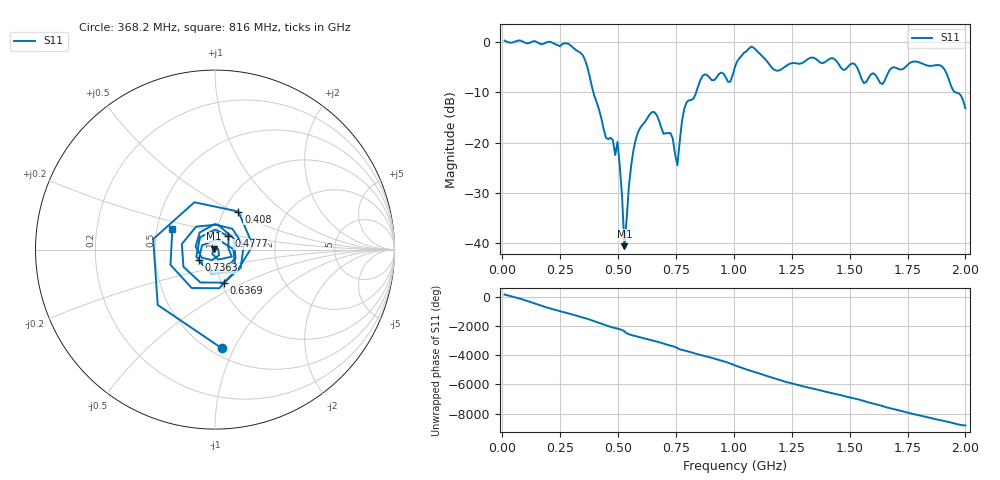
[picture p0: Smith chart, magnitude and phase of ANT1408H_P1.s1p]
!Created with skrf (http://scikit-rf.org).
# Hz S RI R 50.0
!freq ReS11 ImS11
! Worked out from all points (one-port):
!   201 points, 10 MHz to 2 GHz, reference 50 ohm
!   lowest |S11| = -40.5 dB at 527.4 MHz (marker M1), VSWR 1.02, Z = 49.2 + j0.515 ohm
!   |S11| at or under -10 dB: 393.2 MHz to 837.7 MHz (444.5 MHz wide, 72.2 % of centre); 1.955 GHz to end of sweep
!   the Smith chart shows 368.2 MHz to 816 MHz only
!   S11 on the Smith chart (normalised r, x): 368.2 MHz: 0.57, -0.89; 408 MHz: 1.17, +0.53; 477.6 MHz: 1.15, +0.17; 636.9 MHz: 1.02, -0.39; 736.4 MHz: 0.83, -0.10; 816 MHz: 0.60, +0.15
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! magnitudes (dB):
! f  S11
! 10 MHz  0.2
! 258.8 MHz  -0.5
! 368.2 MHz  -5.2
! 408 MHz  -12.1
! 447.8 MHz  -19.1
! 477.6 MHz  -19.5
! 487.6 MHz  -22.5
! 497.6 MHz  -19.9
! 507.5 MHz  -24.7
! 527.4 MHz  -40.5
! 547.3 MHz  -28.3
! 567.2 MHz  -21.3
! 636.9 MHz  -14.4
! 736.4 MHz  -19.2
! 756.2 MHz  -24.5
! 786.1 MHz  -13.3
! 816 MHz  -11.6
! 865.7 MHz  -6.8
! 985.1 MHz  -7.9
! 1.005 GHz  -5.0
! 1.075 GHz  -1.0
! 1.184 GHz  -5.8
! 1.254 GHz  -4.3
! 1.502 GHz  -4.5
! 1.642 GHz  -8.4
! 1.751 GHz  -4.6
! 1.901 GHz  -5.0
! 2 GHz  -13.2
